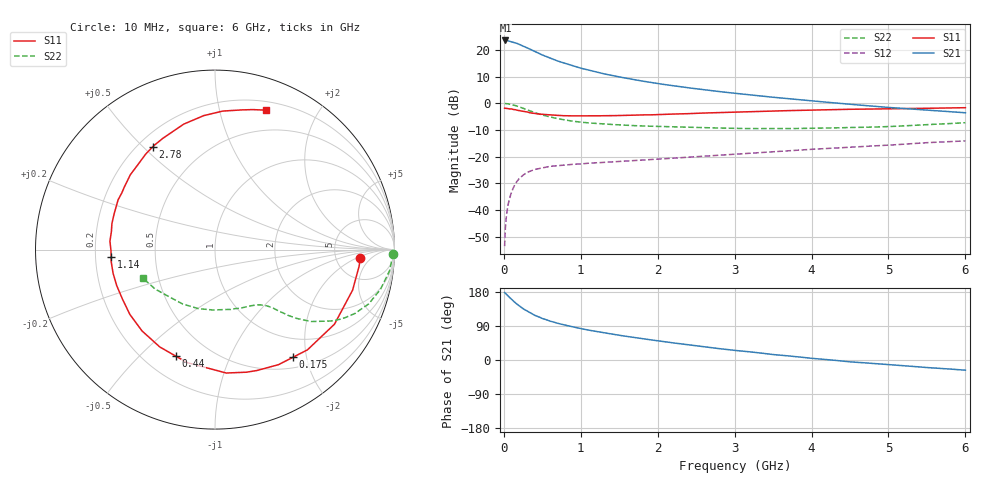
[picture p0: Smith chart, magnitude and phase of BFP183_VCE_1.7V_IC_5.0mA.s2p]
! Infineon Technologies  Discrete & RF Semiconductors
! BFP183
! VCE = 1.7 V,  IC =  5.0 mA
! Common Emitter S-Parameters:  Jan 2016
# GHz  S  MA  R  50
!  f  S11  S21  S12  S22
! GHz  MAG  ANG  MAG  ANG  MAG  ANG  MAG  ANG
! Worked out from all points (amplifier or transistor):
!   210 points, 10 MHz to 6 GHz, reference 50 ohm
!   highest |S21| = 23.6 dB at 20 MHz (marker M1)
!   |S21| within 3 dB of that: start of sweep to 320.4 MHz
!   unconditionally stable (mu >= 1): 1.53 GHz to 5.827 GHz
!   at 185 MHz: K = 0.17, MSG = 25.5 dB, |S12| = -28.8 dB
!   at 1.52 GHz: K = 1.00, MSG = 15.8 dB, |S12| = -21.8 dB
!   at 6 GHz: K = 0.97, MSG = 5.3 dB, |S12| = -14.1 dB
!   S11 on the Smith chart (normalised r, x): 10 MHz: 8.92, -2.35; 175 MHz: 0.66, -1.76; 440 MHz: 0.33, -0.65; 1.14 GHz: 0.27, -0.03; 2.78 GHz: 0.26, +0.54; 6 GHz: 0.28, +1.40
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0.01  0.8104 -3.2  14.91 178.1  0.0021 86.9  0.9931 -1.3
0.02  0.8083 -6.6  15.08 176.4  0.0046 84.7  0.9884 -2.8
0.05  0.7992 -16.4  14.94 169.8  0.0115 81.7  0.9797 -6.9
0.1  0.7847 -32.0  14.21 160.2  0.0216 72.9  0.9484 -13.5
0.15  0.7598 -47.3  13.64 150.8  0.0311 66.4  0.9086 -19.4
0.175  0.7406 -54.1  13.2 146.8  0.035 63.0  0.8828 -21.8
0.2  0.7322 -61.1  12.81 142.6  0.0389 60.3  0.8587 -24.4
0.3  0.6905 -84.8  11.03 129.2  0.0505 50.4  0.7574 -31.7
0.4  0.6483 -104.0  9.437 118.0  0.0575 43.5  0.6704 -36.7
0.44  0.6328 -110.1  8.862 115.0  0.0592 41.4  0.6432 -37.9
0.5  0.6235 -119.6  8.055 109.6  0.0619 38.5  0.603 -39.8
0.6  0.6088 -131.9  7.081 102.7  0.0658 35.6  0.5544 -41.7
0.7  0.5962 -142.7  6.207 96.8  0.0679 33.0  0.5152 -43.1
1.02  0.5822 -168.2  4.485 82.1  0.0735 29.7  0.4407 -46.3
1.14  0.5803 -175.8  4.06 77.5  0.076 29.2  0.4256 -47.4
1.5  0.5924 165.8  3.124 65.1  0.0812 29.2  0.3941 -51.3
2.02  0.6153 144.5  2.322 50.1  0.0903 30.1  0.3683 -59.0
2.78  0.6701 121.0  1.672 30.5  0.1064 30.5  0.3458 -74.3
3.1  0.6895 112.9  1.492 23.5  0.1141 30.6  0.3374 -81.9
4.1  0.7527 93.2  1.08 2.8  0.1398 27.4  0.342 -109.0
5.1  0.7916 79.4  0.819 -13.7  0.1676 23.4  0.3717 -136.8
6  0.8278 69.8  0.665 -26.9  0.1975 16.5  0.433 -158.7
